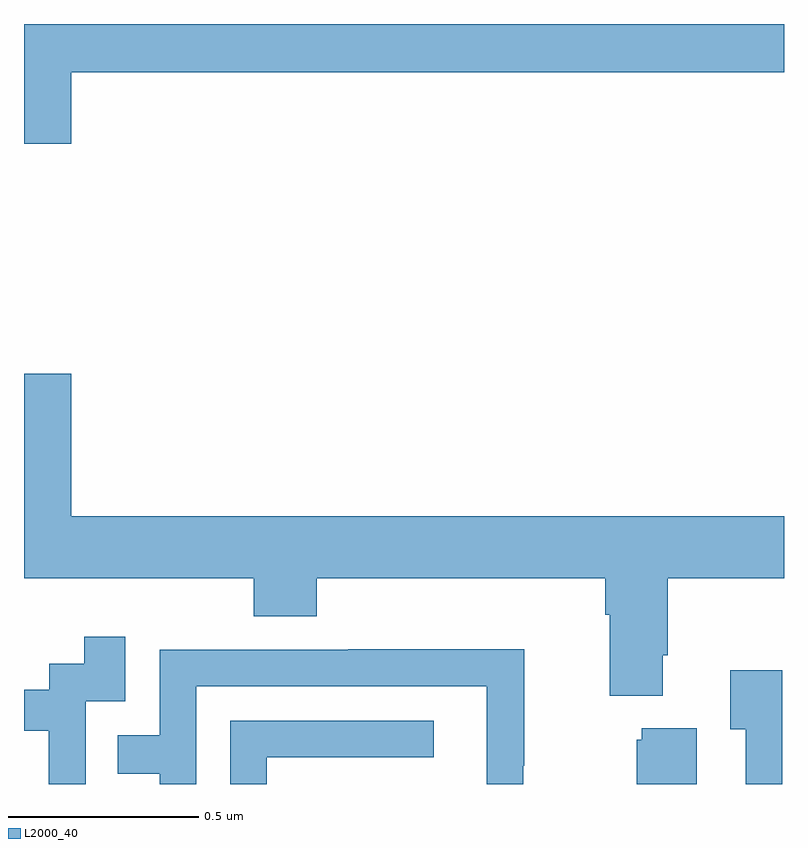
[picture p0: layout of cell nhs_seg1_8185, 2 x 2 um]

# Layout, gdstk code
import gdstk
lib = gdstk.Library(unit=1e-6, precision=1e-09)
def P(c, l, *ps):  # polygons
    for p in ps: c.add(gdstk.Polygon(p, *l))
L2000_40 = (2000, 40)

nhs_seg1_8185 = lib.new_cell('nhs_seg1_8185')
P(nhs_seg1_8185, L2000_40, [(213.124,545.072),(215,545.072),(215,545.199),(213,545.199),(213,544.884),(213.124,544.884)],
  [(214.681,543.538),(214.694,543.538),(214.694,543.74),(215,543.74),(215,543.904),(213.124,543.904),(213.124,544.279),(213,544.279),(213,543.74),(213.605,543.74),(213.605,543.641),(213.77,543.641),(213.77,543.74),(214.529,543.74),(214.529,543.644),(214.541,543.644),(214.541,543.431),(214.681,543.431)],
  [(213.162,543.417),(213.267,543.417),(213.267,543.586),(213.159,543.586),(213.159,543.516),(213.066,543.516),(213.066,543.447),(213,543.447),(213,543.339),(213.065,543.339),(213.065,543.199),(213.162,543.199)],
  [(213.453,543.456),(214.218,543.456),(214.218,543.199),(214.314,543.199),(214.314,543.247),(214.317,543.247),(214.317,543.554),(213.853,543.554),(213.853,543.552),(213.357,543.552),(213.357,543.327),(213.247,543.327),(213.247,543.226),(213.357,543.226),(213.357,543.199),(213.453,543.199)],
  [(214.995,543.499),(214.859,543.499),(214.859,543.343),(214.899,543.343),(214.899,543.199),(214.995,543.199)],
  [(213.639,543.27),(214.078,543.27),(214.078,543.366),(213.543,543.366),(213.543,543.199),(213.639,543.199)],
  [(214.771,543.346),(214.625,543.346),(214.625,543.315),(214.613,543.315),(214.613,543.199),(214.771,543.199)])

lib.write_gds('nhs_seg1_8185.gds')
